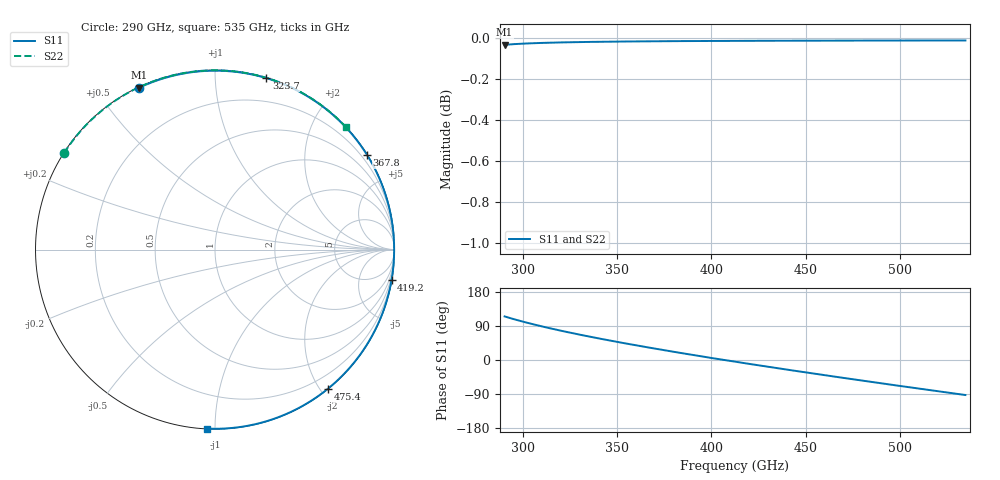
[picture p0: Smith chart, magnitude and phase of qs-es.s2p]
!Created with skrf (http://scikit-rf.org).
# GHz S RI R 50.0
!freq ReS11 ImS11 ReS21 ImS21 ReS12 ImS12 ReS22 ImS22
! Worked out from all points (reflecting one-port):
!   1201 points, 290 GHz to 535 GHz, reference 50 ohm
!   lowest |S11| = 0.0 dB at 290 GHz (marker M1), VSWR 490.55, Z = 0.143 + j31.8 ohm
!   phase of S11 starts at 115 deg and turns -207 deg over the sweep
!   S11 on the Smith chart (normalised r, x): 290 GHz: 0.00, +0.64; 323.7 GHz: 0.00, +1.34; 367.8 GHz: 0.01, +3.50; 419.2 GHz: 0, -12; 475.4 GHz: 0.00, -2.10; 535 GHz: 0.00, -0.96
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290  -0.4212 0.9025  0 0  0 0  -0.8405 0.538
297.7583  -0.2383 0.9676  0 0  0 0  -0.7841 0.6178
305.5167  -0.067 0.9946  0 0  0 0  -0.7272 0.6841
314.2958  0.1123 0.9908  0 0  0 0  -0.6626 0.7471
323.6875  0.2862 0.9554  0 0  0 0  -0.5932 0.8034
331.0375  0.4092 0.9097  0 0  0 0  -0.5389 0.8408
340.225  0.5464 0.8347  0 0  0 0  -0.4711 0.8807
349.4125  0.6652 0.7436  0 0  0 0  -0.4035 0.9137
358.6  0.7655 0.6401  0 0  0 0  -0.3362 0.9406
367.7875  0.8473 0.5271  0 0  0 0  -0.2693 0.962
371.6667  0.8764 0.4773  0 0  0 0  -0.2413 0.9694
381.6708  0.9367 0.3444  0 0  0 0  -0.1695 0.9845
391.8792  0.9768 0.205  0 0  0 0  -0.0972 0.9943
402.0875  0.996 0.0645  0 0  0 0  -0.026 0.9987
412.5  0.9951 -0.0772  0 0  0 0  0.0452 0.998
419.2375  0.9841 -0.1669  0 0  0 0  0.0905 0.995
435.9792  0.9237 -0.3783  0 0  0 0  0.2 0.9789
453.5375  0.8155 -0.5758  0 0  0 0  0.3096 0.9499
475.3833  0.6286 -0.7755  0 0  0 0  0.4373 0.8984
494.1667  0.4339 -0.8991  0 0  0 0  0.5386 0.8416
514.5833  0.2003 -0.978  0 0  0 0  0.6388 0.7683
535  -0.0418 -0.9975  0 0  0 0  0.7278 0.6845
